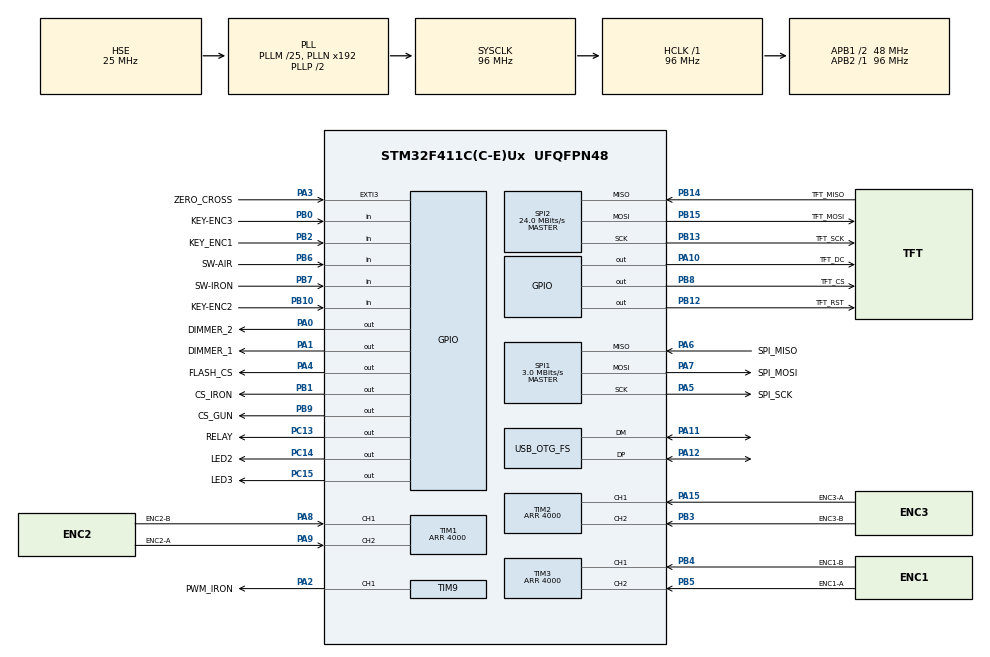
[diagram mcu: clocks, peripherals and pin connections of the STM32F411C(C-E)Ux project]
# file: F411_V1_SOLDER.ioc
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ADC1.Channel-0\#ChannelRegularConversion=ADC_CHANNEL_VBAT
ADC1.Channel-1\#ChannelRegularConversion=ADC_CHANNEL_VREFINT
ADC1.ContinuousConvMode=ENABLE
ADC1.DMAContinuousRequests=ENABLE
ADC1.NbrOfConversion=2
ADC1.NbrOfConversionFlag=1
ADC1.Rank-0\#ChannelRegularConversion=1
ADC1.Rank-1\#ChannelRegularConversion=2
ADC1.SamplingTime-0\#ChannelRegularConversion=ADC_SAMPLETIME_144CYCLES
ADC1.SamplingTime-1\#ChannelRegularConversion=ADC_SAMPLETIME_144CYCLES
ADC1.master=1
Dma.ADC1.0.Direction=DMA_PERIPH_TO_MEMORY
Dma.ADC1.0.FIFOMode=DMA_FIFOMODE_DISABLE
Dma.ADC1.0.Instance=DMA2_Stream0
Dma.ADC1.0.MemDataAlignment=DMA_MDATAALIGN_HALFWORD
Dma.ADC1.0.MemInc=DMA_MINC_ENABLE
Dma.ADC1.0.Mode=DMA_CIRCULAR
Dma.ADC1.0.PeriphDataAlignment=DMA_PDATAALIGN_HALFWORD
Dma.ADC1.0.PeriphInc=DMA_PINC_DISABLE
Dma.ADC1.0.Priority=DMA_PRIORITY_MEDIUM
Dma.Request0=ADC1
Dma.Request1=SPI2_TX
Dma.SPI2_TX.1.Direction=DMA_MEMORY_TO_PERIPH
Dma.SPI2_TX.1.FIFOMode=DMA_FIFOMODE_DISABLE
Dma.SPI2_TX.1.Instance=DMA1_Stream4
Dma.SPI2_TX.1.MemDataAlignment=DMA_MDATAALIGN_BYTE
Dma.SPI2_TX.1.MemInc=DMA_MINC_ENABLE
Dma.SPI2_TX.1.Mode=DMA_NORMAL
Dma.SPI2_TX.1.PeriphDataAlignment=DMA_PDATAALIGN_BYTE
Dma.SPI2_TX.1.PeriphInc=DMA_PINC_DISABLE
Dma.SPI2_TX.1.Priority=DMA_PRIORITY_HIGH
Mcu.Family=STM32F4
Mcu.Name=STM32F411C(C-E)Ux
Mcu.Package=UFQFPN48
NVIC.DMA1_Stream4_IRQn=true\:0\:0\:false\:false\:true\:false\:true\:true
NVIC.DMA2_Stream0_IRQn=true\:2\:0\:true\:false\:true\:false\:true\:true
NVIC.EXTI3_IRQn=true\:2\:0\:true\:false\:true\:true\:true\:true
NVIC.OTG_FS_IRQn=true\:0\:0\:false\:false\:true\:false\:true\:true
NVIC.PriorityGroup=NVIC_PRIORITYGROUP_4
NVIC.SPI2_IRQn=true\:0\:0\:false\:false\:true\:true\:true\:true
NVIC.TIM1_TRG_COM_TIM11_IRQn=true\:15\:0\:false\:false\:true\:false\:true\:true
NVIC.TIM1_UP_TIM10_IRQn=true\:2\:0\:true\:false\:true\:true\:true\:true
NVIC.TIM4_IRQn=true\:4\:0\:true\:false\:true\:true\:true\:true
NVIC.TIM5_IRQn=true\:2\:0\:true\:false\:true\:true\:true\:true
NVIC.TimeBase=TIM1_TRG_COM_TIM11_IRQn
NVIC.TimeBaseIP=TIM11
PA0-WKUP.GPIO_Label=DIMMER_2
PA0-WKUP.PinState=GPIO_PIN_SET
PA0-WKUP.Signal=GPIO_Output
PA1.GPIO_Label=DIMMER_1
PA1.PinState=GPIO_PIN_SET
PA1.Signal=GPIO_Output
PA10.GPIO_Label=TFT_DC
PA10.PinState=GPIO_PIN_SET
PA10.Signal=GPIO_Output
PA11.Mode=Device_Only
PA11.Signal=USB_OTG_FS_DM
PA12.Mode=Device_Only
PA12.Signal=USB_OTG_FS_DP
PA13.Mode=Serial_Wire
PA13.Signal=SYS_JTMS-SWDIO
PA14.Mode=Serial_Wire
PA14.Signal=SYS_JTCK-SWCLK
PA15.GPIO_Label=ENC3-A
PA15.Signal=S_TIM2_CH1_ETR
PA2.GPIO_Label=PWM_IRON
PA2.Signal=S_TIM9_CH1
PA3.GPIO_Label=ZERO_CROSS
PA3.Signal=GPXTI3
PA4.GPIO_Label=FLASH_CS
PA4.PinState=GPIO_PIN_SET
PA4.Signal=GPIO_Output
PA5.GPIO_Label=SPI_SCK
PA5.Mode=Full_Duplex_Master
PA5.Signal=SPI1_SCK
PA6.GPIO_Label=SPI_MISO
PA6.Mode=Full_Duplex_Master
PA6.Signal=SPI1_MISO
PA7.GPIO_Label=SPI_MOSI
PA7.Mode=Full_Duplex_Master
PA7.Signal=SPI1_MOSI
PA8.GPIO_Label=ENC2-B
PA8.Signal=S_TIM1_CH1
PA9.GPIO_Label=ENC2-A
PA9.Signal=S_TIM1_CH2
PB0.GPIO_Label=KEY-ENC3
PB0.Signal=GPIO_Input
PB1.GPIO_Label=CS_IRON
PB1.PinState=GPIO_PIN_SET
PB1.Signal=GPIO_Output
PB10.GPIO_Label=KEY-ENC2
PB10.Signal=GPIO_Input
PB12.GPIO_Label=TFT_RST
PB12.PinState=GPIO_PIN_SET
PB12.Signal=GPIO_Output
PB13.GPIO_Label=TFT_SCK
PB13.Mode=Full_Duplex_Master
PB13.Signal=SPI2_SCK
PB14.GPIO_Label=TFT_MISO
PB14.Mode=Full_Duplex_Master
PB14.Signal=SPI2_MISO
PB15.GPIO_Label=TFT_MOSI
PB15.Mode=Full_Duplex_Master
PB15.Signal=SPI2_MOSI
PB2.GPIO_Label=KEY_ENC1
PB2.Signal=GPIO_Input
PB3.GPIO_Label=ENC3-B
PB3.Signal=S_TIM2_CH2
PB4.GPIO_Label=ENC1-B
PB4.Signal=S_TIM3_CH1
PB5.GPIO_Label=ENC1-A
PB5.Signal=S_TIM3_CH2
PB6.GPIO_Label=SW-AIR
PB6.Signal=GPIO_Input
PB7.GPIO_Label=SW-IRON
PB7.Signal=GPIO_Input
PB8.GPIO_Label=TFT_CS
PB8.PinState=GPIO_PIN_SET
PB8.Signal=GPIO_Output
PB9.GPIO_Label=CS_GUN
PB9.PinState=GPIO_PIN_SET
PB9.Signal=GPIO_Output
PC13-ANTI_TAMP.GPIO_Label=RELAY
PC13-ANTI_TAMP.PinState=GPIO_PIN_SET
PC13-ANTI_TAMP.Signal=GPIO_Output
PC14-OSC32_IN.GPIO_Label=LED2
PC14-OSC32_IN.Signal=GPIO_Output
PC15-OSC32_OUT.GPIO_Label=LED3
PC15-OSC32_OUT.Signal=GPIO_Output
PH0\ -\ OSC_IN.Mode=HSE-External-Oscillator
PH0\ -\ OSC_IN.Signal=RCC_OSC_IN
PH1\ -\ OSC_OUT.Mode=HSE-External-Oscillator
PH1\ -\ OSC_OUT.Signal=RCC_OSC_OUT
ProjectManager.HeapSize=0x200
ProjectManager.StackSize=0x400
ProjectManager.TargetToolchain=STM32CubeIDE
RCC.48MHZClocksFreq_Value=48000000
RCC.AHBFreq_Value=96000000
RCC.APB1CLKDivider=RCC_HCLK_DIV2
RCC.APB1Freq_Value=48000000
RCC.APB1TimFreq_Value=96000000
RCC.APB2Freq_Value=96000000
RCC.APB2TimFreq_Value=96000000
RCC.CortexFreq_Value=96000000
RCC.EnbaleCSS=true
RCC.HCLKFreq_Value=96000000
RCC.HSE_VALUE=25000000
RCC.HSI_VALUE=16000000
RCC.LSE_VALUE=32768
RCC.PLLM=25
RCC.RCC_RTC_Clock_SourceVirtual=RCC_RTCCLKSOURCE_HSE_DIV25
RCC.RCC_RTC_Clock_Source_FROM_HSE=RCC_RTCCLKSOURCE_HSE_DIV25
RCC.SYSCLKFreq_VALUE=96000000
RCC.SYSCLKSource=RCC_SYSCLKSOURCE_PLLCLK
RCC.VCOOutputFreq_Value=192000000
RTC.AsynchPrediv=100-1
RTC.Format=RTC_FORMAT_BIN
RTC.Month=RTC_MONTH_NOVEMBER
RTC.SynchPrediv=10000-1
RTC.Year=23
SH.S_TIM1_CH1.0=TIM1_CH1,Encoder_Interface
SH.S_TIM1_CH2.0=TIM1_CH2,Encoder_Interface
SH.S_TIM2_CH1_ETR.0=TIM2_CH1,Encoder_Interface
SH.S_TIM2_CH2.0=TIM2_CH2,Encoder_Interface
SH.S_TIM3_CH1.0=TIM3_CH1,Encoder_Interface
SH.S_TIM3_CH2.0=TIM3_CH2,Encoder_Interface
SH.S_TIM9_CH1.0=TIM9_CH1,PWM Generation1 CH1
SPI1.BaudRatePrescaler=SPI_BAUDRATEPRESCALER_32
SPI1.CLKPhase=SPI_PHASE_2EDGE
SPI1.CLKPolarity=SPI_POLARITY_HIGH
SPI1.CalculateBaudRate=3.0 MBits/s
SPI1.Direction=SPI_DIRECTION_2LINES
SPI1.Mode=SPI_MODE_MASTER
SPI1.VirtualType=VM_MASTER
SPI2.BaudRatePrescaler=SPI_BAUDRATEPRESCALER_2
SPI2.CalculateBaudRate=24.0 MBits/s
SPI2.Direction=SPI_DIRECTION_2LINES
SPI2.Mode=SPI_MODE_MASTER
SPI2.VirtualType=VM_MASTER
TIM1.AutoReloadPreload=TIM_AUTORELOAD_PRELOAD_DISABLE
TIM1.EncoderMode=TIM_ENCODERMODE_TI12
TIM1.IC1Filter=8
TIM1.IC1Polarity=TIM_ICPOLARITY_FALLING
TIM1.IC1Prescaler=TIM_ICPSC_DIV2
TIM1.IC2Filter=8
TIM1.IC2Polarity=TIM_ICPOLARITY_FALLING
TIM1.IC2Prescaler=TIM_ICPSC_DIV2
TIM1.Period=4000
TIM10.AutoReloadPreload=TIM_AUTORELOAD_PRELOAD_DISABLE
TIM10.Period=1000-1
TIM10.Prescaler=800-1
TIM2.AutoReloadPreload=TIM_AUTORELOAD_PRELOAD_DISABLE
TIM2.EncoderMode=TIM_ENCODERMODE_TI12
TIM2.IC1Filter=8
TIM2.IC1Polarity=TIM_ICPOLARITY_FALLING
TIM2.IC1Prescaler=TIM_ICPSC_DIV2
TIM2.IC2Filter=8
TIM2.IC2Polarity=TIM_ICPOLARITY_FALLING
TIM2.IC2Prescaler=TIM_ICPSC_DIV2
TIM2.Period=4000
TIM3.AutoReloadPreload=TIM_AUTORELOAD_PRELOAD_DISABLE
TIM3.EncoderMode=TIM_ENCODERMODE_TI12
TIM3.IC1Filter=8
TIM3.IC1Polarity=TIM_ICPOLARITY_FALLING
TIM3.IC1Prescaler=TIM_ICPSC_DIV2
TIM3.IC2Filter=8
TIM3.IC2Polarity=TIM_ICPOLARITY_FALLING
TIM3.IC2Prescaler=TIM_ICPSC_DIV2
TIM3.Period=4000
TIM4.AutoReloadPreload=TIM_AUTORELOAD_PRELOAD_ENABLE
TIM4.Prescaler=96-1
TIM5.AutoReloadPreload=TIM_AUTORELOAD_PRELOAD_DISABLE
TIM5.Period=100-1
TIM5.Prescaler=80-1
TIM9.Channel-PWM\ Generation1\ CH1=TIM_CHANNEL_1
TIM9.OCPolarity_1=TIM_OCPOLARITY_LOW
TIM9.Period=4095
TIM9.Prescaler=16
USB_DEVICE.CLASS_NAME_FS=CDC
USB_DEVICE.VirtualMode=Cdc
USB_DEVICE.VirtualModeFS=Cdc_FS
USB_OTG_FS.VirtualMode=Device_Only
VP_ADC1_Vbat_Input.Mode=IN-Vbat
VP_ADC1_Vref_Input.Mode=IN-Vrefint
VP_RTC_VS_RTC_Activate.Mode=RTC_Enabled
VP_RTC_VS_RTC_Calendar.Mode=RTC_Calendar
VP_SYS_VS_tim11.Mode=TIM11
VP_TIM10_VS_ClockSourceINT.Mode=Enable_Timer
VP_TIM4_VS_ClockSourceINT.Mode=Internal
VP_TIM5_VS_ClockSourceINT.Mode=Internal
VP_TIM9_VS_ClockSourceINT.Mode=Internal
VP_USB_DEVICE_VS_USB_DEVICE_CDC_FS.Mode=CDC_FS
board=custom

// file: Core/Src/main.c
/* USER CODE BEGIN Header */
/**
  ******************************************************************************
  * @file           : main.c
  * @brief          : Main program body
  ******************************************************************************
  * @attention
  *
  * Copyright (c) 2023 STMicroelectronics.
  * All rights reserved.
  *
  * This software is licensed under terms that can be found in the LICENSE file
  * in the root directory of this software component.
  * If no LICENSE file comes with this software, it is provided AS-IS.
  *
  ******************************************************************************
  */
/* USER CODE END Header */
#include "main.h"
#include "adc.h"
#include "dma.h"
#include "rtc.h"
#include "spi.h"
#include "tim.h"
#include "usb_device.h"
#include "gpio.h"

/* USER CODE BEGIN Includes */
#include "string.h"
#include "stdio.h"
#include "math.h"
#include "../App/key.h"
#include "../App/ILI9341.h"
#include "../App/MAX31856.h"
#include "../App/W25qxx.h"
#include "../App/Encoder.h"
#include "../App/log_usb.h"
#include "../lvgl/lvgl.h"
#include "../App/screen.h"
#include "../App/power_ctrl.h"
/* USER CODE END Includes */

/* USER CODE BEGIN PTD */
void calculate_calibration(void);
void filter_adc(void);
void Zero_Crossing_Int(void);
/* USER CODE END PTD */

/* USER CODE BEGIN PM */
extern char string_usb[];
/* USER CODE END PM */

/* USER CODE BEGIN PV */
encoder rot1;
encoder rot2;
encoder rot3;
RTC_TimeTypeDef RTC_Time = {0};
RTC_DateTypeDef RTC_Date = {0};
max_data max_dbg_i;
max_data max_dbg_g;

GPIO_PinState pin_sw_air;
uint8_t sw_air_low = 0;
uint8_t sw_air_high = 0;
volatile uint8_t sw_air = 0;

GPIO_PinState pin_sw_iron;
uint8_t sw_iron_low = 0;
uint8_t sw_iron_high = 0;
volatile uint8_t sw_iron = 0;

uint16_t adcBuffer[4]; 					// Buffer ADC conversion
uint16_t filter_adc_1[8] = { 0 };
uint16_t filter_adc_2[8] = { 0 };
uint16_t filter_adc_3[8] = { 0 };
uint16_t ADC_temp = 0, ADC_vref = 0, ADC_vbat = 0;
uint16_t pwm_iron = 0;
uint16_t idx_flt = 0;
uint16_t flt_flag = 0;
uint32_t timer_key = 0, timer_lvgl = 0, timer_rtc = 0;
uint32_t timer_lcd = 0, timer_debug = 0, timer_therm = 0;

float temp_iron = 0.0f;
float temp_gun  = 0.0f;
float temp_cj_iron = 0.0f;
float temp_cj_gun = 0.0f;
float target_iron, target_air;
uint32_t target_speed = 0;

volatile uint32_t enc1_cnt=0, enc1_last=0, enc1_dir=0, enc1_btn=0;
volatile uint32_t enc2_cnt=0, enc2_last=0, enc2_dir=0, enc2_btn=0;
volatile uint32_t enc3_cnt=0, enc3_last=0, enc3_dir=0, enc3_btn=0;
volatile uint32_t enc1_val=0, enc2_val=0, enc3_val=0;

volatile int NumHandled  = 0;
volatile bool zero_cross = 0;
int NumActiveChannels = NUM_DIMMERS;
volatile bool isHandled[NUM_DIMMERS] = { 0, 0 };
uint32_t dimmer_value[NUM_DIMMERS]   = { 0, 0 };
uint32_t dimmer_Counter[NUM_DIMMERS] = { 0, 0 };
uint32_t dimmer_out[NUM_DIMMERS]     = { 0, 0 };
uint32_t timer_cnt5 = 0;
uint32_t timer_cnt5_max = 0;

uint16_t EepromID = 0xFFFF, prg_rev = 0xFFFF;

float vdda = 0.0f; 		// Result of VDDA calculation
float vref = 0.0f; 		// Result of VREF calculation
float vbat = 0.0f;		// Result of VBAT calculation
float temp_stm, ta, tb; // transfer function using calibration data

static lv_disp_draw_buf_t draw_buf;
static lv_color_t buf1[(ILI9341_SCREEN_WIDTH * 20)];	// Declare a buffer for 1/10 screen size
static lv_color_t buf2[(ILI9341_SCREEN_WIDTH * 20)];
static lv_disp_drv_t disp_drv;        					// Descriptor of a display driver

W25QXX_result_t res;
W25QXX_HandleTypeDef w25qxx; // Handler for all w25qxx operations!

max31856_t therm_iron = {&hspi1, {CS_IRON_GPIO_Port, CS_IRON_Pin}};
max31856_t therm_gun  = {&hspi1, {CS_GUN_GPIO_Port, CS_GUN_Pin}};
/* USER CODE END PV */

void SystemClock_Config(void);

int main(void)
{

  /* MCU Configuration--------------------------------------------------------*/

  /* Reset of all peripherals, Initializes the Flash interface and the Systick. */
  HAL_Init();

  /* Configure the system clock */
  SystemClock_Config();

  /* Initialize all configured peripherals */
  MX_GPIO_Init();
  MX_DMA_Init();
  MX_ADC1_Init();
  MX_RTC_Init();
  MX_SPI1_Init();
  MX_SPI2_Init();
  MX_TIM1_Init();
  MX_TIM2_Init();
  MX_TIM3_Init();
  MX_TIM4_Init();
  MX_TIM5_Init();
  MX_TIM9_Init();
  MX_TIM10_Init();
  MX_USB_DEVICE_Init();
  /* USER CODE BEGIN 2 */
  timer_cnt5 = 0;
  HAL_TIM_Base_Start_IT(&htim4);
  HAL_TIM_Base_Start_IT(&htim5);
  HAL_TIM_Base_Start_IT(&htim10);
  HAL_TIM_Encoder_Start(&htim1, TIM_CHANNEL_ALL);
  HAL_TIM_Encoder_Start(&htim2, TIM_CHANNEL_ALL);
  HAL_TIM_Encoder_Start(&htim3, TIM_CHANNEL_ALL);

  // PWM
  pwm_iron = 80;
  HAL_TIM_PWM_Start(&htim9, TIM_CHANNEL_1);
  __HAL_TIM_SetCompare(&htim9, TIM_CHANNEL_1, pwm_iron);	// PWM_CH1 = 80 IRON

  // Start ADC
  idx_flt = 0;
  flt_flag = 0;
  calculate_calibration();
  HAL_ADC_Start_DMA(&hadc1, (uint32_t*)adcBuffer, 2);	// Start ADC in DMA

  // Apaga LEDS
  // LED-1 - PWM GUN
  // LED-2 - REPOUSO
  // LED-3 - OPERATE
  // LED-4 - PWM IRON
  HAL_GPIO_WritePin(DIMMER_1_GPIO_Port, DIMMER_1_Pin, GPIO_PIN_SET);
  HAL_GPIO_WritePin(DIMMER_2_GPIO_Port, DIMMER_2_Pin, GPIO_PIN_SET);
  HAL_GPIO_WritePin(RELAY_GPIO_Port,RELAY_Pin, GPIO_PIN_SET);
  HAL_GPIO_WritePin(LED2_GPIO_Port, LED2_Pin, GPIO_PIN_RESET);
  HAL_GPIO_WritePin(LED3_GPIO_Port, LED3_Pin, GPIO_PIN_RESET);

  ILI9341_Init();
  ILI9341_Set_Rotation(SCREEN_HORIZONTAL_1);
  ILI9341_Set_Address(0, 0, ILI9341_SCREEN_HEIGHT-1, ILI9341_SCREEN_WIDTH-1);

  Evt_InitQueue();
  KeyboardInit(0x01);

  // ThermoCouple INIT
  max31856_init(&therm_iron);
  max31856_clear_fault_status(&therm_iron);
  max31856_set_noise_filter(&therm_iron, CR0_FILTER_OUT_60Hz);
  max31856_set_cold_junction_enable(&therm_iron, CR0_CJ_ENABLED);
  max31856_set_thermocouple_type(&therm_iron, CR1_TC_TYPE_K);
  max31856_set_average_samples(&therm_iron, CR1_AVG_TC_SAMPLES_2);
  max31856_set_open_circuit_fault_detection(&therm_iron, CR0_OC_DETECT_ENABLED_TC_LESS_2ms);
  max31856_set_conversion_mode(&therm_iron, CR0_CONV_CONTINUOUS);
  //
  max_dbg_i.CR0 = max31856_read_register(&therm_iron, MAX31856_CR0);
  max_dbg_i.CR1 = max31856_read_register(&therm_iron, MAX31856_CR1);
  max_dbg_i.MASK = max31856_read_register(&therm_iron, MAX31856_MASK);

  max_dbg_i.CJHF = max31856_read_register(&therm_iron, MAX31856_CJHF);
  max_dbg_i.CJLF = max31856_read_register(&therm_iron, MAX31856_CJLF);

  max_dbg_i.LTHFTH = max31856_read_register(&therm_iron, MAX31856_LTHFTH);
  max_dbg_i.LTHFTL = max31856_read_register(&therm_iron, MAX31856_LTHFTL);

  max_dbg_i.LTLFTH = max31856_read_register(&therm_iron, MAX31856_LTLFTH);
  max_dbg_i.LTLFTL = max31856_read_register(&therm_iron, MAX31856_LTLFTL);

  max_dbg_i.CJTO = max31856_read_register(&therm_iron, MAX31856_CJTO);
  max_dbg_i.CJTH = max31856_read_register(&therm_iron, MAX31856_CJTH);
  max_dbg_i.CJTL = max31856_read_register(&therm_iron, MAX31856_CJTL);

  max_dbg_i.LTCBH = max31856_read_register(&therm_iron, MAX31856_LTCBH);
  max_dbg_i.LTCBM = max31856_read_register(&therm_iron, MAX31856_LTCBM);
  max_dbg_i.LTCBL = max31856_read_register(&therm_iron, MAX31856_LTCBL);

  max_dbg_i.SR = max31856_read_register(&therm_iron, MAX31856_SR);

  //
  max31856_init(&therm_gun);
  max31856_clear_fault_status(&therm_gun);
  max31856_set_noise_filter(&therm_gun, CR0_FILTER_OUT_60Hz);
  max31856_set_cold_junction_enable(&therm_gun, CR0_CJ_ENABLED);
  max31856_set_thermocouple_type(&therm_gun, CR1_TC_TYPE_K);
  max31856_set_average_samples(&therm_gun, CR1_AVG_TC_SAMPLES_2);
  max31856_set_open_circuit_fault_detection(&therm_gun, CR0_OC_DETECT_ENABLED_TC_LESS_2ms);
  max31856_set_conversion_mode(&therm_gun, CR0_CONV_CONTINUOUS);

  max_dbg_g.CR0 = max31856_read_register(&therm_gun, MAX31856_CR0);
  max_dbg_g.CR1 = max31856_read_register(&therm_gun, MAX31856_CR1);
  max_dbg_g.MASK = max31856_read_register(&therm_gun, MAX31856_MASK);

  max_dbg_g.CJHF = max31856_read_register(&therm_gun, MAX31856_CJHF);
  max_dbg_g.CJLF = max31856_read_register(&therm_gun, MAX31856_CJLF);

  max_dbg_g.LTHFTH = max31856_read_register(&therm_gun, MAX31856_LTHFTH);
  max_dbg_g.LTHFTL = max31856_read_register(&therm_gun, MAX31856_LTHFTL);

  max_dbg_g.LTLFTH = max31856_read_register(&therm_gun, MAX31856_LTLFTH);
  max_dbg_g.LTLFTL = max31856_read_register(&therm_gun, MAX31856_LTLFTL);

  max_dbg_g.CJTO = max31856_read_register(&therm_gun, MAX31856_CJTO);
  max_dbg_g.CJTH = max31856_read_register(&therm_gun, MAX31856_CJTH);
  max_dbg_g.CJTL = max31856_read_register(&therm_gun, MAX31856_CJTL);

  max_dbg_g.LTCBH = max31856_read_register(&therm_gun, MAX31856_LTCBH);
  max_dbg_g.LTCBM = max31856_read_register(&therm_gun, MAX31856_LTCBM);
  max_dbg_g.LTCBL = max31856_read_register(&therm_gun, MAX31856_LTCBL);

  max_dbg_g.SR = max31856_read_register(&therm_gun, MAX31856_SR);

  // Inicia Flash SPI
//  res = w25qxx_init(&w25qxx, &hspi1, FLASH_CS_GPIO_Port, FLASH_CS_Pin);
//  if (res == W25QXX_Ok) {
          //DBG("W25QXX successfully initialized");
          //DBG("Manufacturer       = 0x%2x", w25qxx.manufacturer_id);
          //DBG("Device             = 0x%4x", w25qxx.device_id);
          //DBG("Block size         = 0x%04lx (%lu)", w25qxx.block_size, w25qxx.block_size);
          //DBG("Block count        = 0x%04lx (%lu)", w25qxx.block_count, w25qxx.block_count);
          //DBG("Sector size        = 0x%04lx (%lu)", w25qxx.sector_size, w25qxx.sector_size);
          //DBG("Sectors per block  = 0x%04lx (%lu)", w25qxx.sectors_in_block, w25qxx.sectors_in_block);
          //DBG("Page size          = 0x%04lx (%lu)", w25qxx.page_size, w25qxx.page_size);
          //DBG("Pages per sector   = 0x%04lx (%lu)", w25qxx.pages_in_sector, w25qxx.pages_in_sector);
          //DBG("Total size (in kB) = 0x%04lx (%lu)", (w25qxx.block_count * w25qxx.block_size) / 1024, (w25qxx.block_count * w25qxx.block_size) / 1024);
//  }
//  else {
//          //DBG("Unable to initialize w25qxx");
//  }
  EepromID = 0xFFFF;
  prg_rev = 0xFFFF;
  target_iron  = 30;
  target_air   = 50;
  target_speed = 10;

//  ReadID_EEPROM();
//  if(EepromID != 0x55AA || prg_rev != PRG_REVISION) {
//  	  Save_Default_EEPROM();
//  }
//  else {
//  	  Read_Config_EEPROM();
//  }

  lv_init();

  lv_disp_draw_buf_init(&draw_buf, buf1, buf2, (ILI9341_SCREEN_WIDTH * 20) );		// Initialize the display buffer.
  lv_disp_drv_init(&disp_drv);          			// Basic initialization

  disp_drv.flush_cb = ILI9341_Flush_IT;   			// Set your driver function
  disp_drv.hor_res  = ILI9341_SCREEN_WIDTH;   		// Set the horizontal resolution of the display
  disp_drv.ver_res  = ILI9341_SCREEN_HEIGHT;   		// Set the vertical resolution of the display

  disp_drv.draw_buf   = &draw_buf;        			// Assign the buffer to the display
  disp_drv.rotated    = LV_DISP_ROT_90;
  disp_drv.sw_rotate  = 1;
  lv_disp_drv_register(&disp_drv);      			// Finally register the driver

  screen_main();
  screen_debug();
  load_screen(0);

  /* USER CODE END 2 */

  /* Infinite loop */
  while (1)
  {

    /* USER CODE BEGIN 3 */
	if(HAL_GetTick() - timer_lvgl > 5) {
		timer_lvgl = HAL_GetTick();
		lv_timer_handler();
	}

	if(HAL_GetTick() - timer_rtc > 1000) {
		timer_rtc = HAL_GetTick();
		HAL_RTC_GetTime(&hrtc, &RTC_Time, RTC_FORMAT_BIN);
		HAL_RTC_GetDate(&hrtc, &RTC_Date, RTC_FORMAT_BIN);
	}

	// Read Encoders
	Read_Encoder();

	// Update Value Dimmer
	dimmer_value[0] = enc1_last / 10;
	dimmer_value[1] = enc2_last / 10;
	pwm_iron = (uint16_t)enc1_last * 4;
	__HAL_TIM_SetCompare(&htim9, TIM_CHANNEL_1, pwm_iron);

	// Buttons Encoders
	KeyboardEvent();

	// Read ADC
	filter_adc();

	if(HAL_GetTick() - timer_therm > 250) {
		timer_therm = HAL_GetTick();
		max31856_read_fault(&therm_iron);
		if (!therm_iron.sr.val) {
			temp_iron = max31856_read_TC_temp(&therm_iron);
			temp_cj_iron = max31856_read_CJ_temp(&therm_iron);
		}
		else {
			temp_iron = NAN;
			temp_cj_iron = NAN;
			max31856_clear_fault_status(&therm_iron);
		}
		max31856_read_fault(&therm_gun);
		if (!therm_gun.sr.val) {
			temp_gun = max31856_read_TC_temp(&therm_gun);
			temp_cj_gun = max31856_read_CJ_temp(&therm_gun);
		}
		else {
			temp_gun = NAN;
			temp_cj_gun = NAN;
			max31856_clear_fault_status(&therm_gun);
		}
	}

	// Log Debug
	if(HAL_GetTick() - timer_debug > 1000) {
		timer_debug = HAL_GetTick();
//		sprintf(string_usb, "ENC1: %04ld [0] %ld ( %ld )  [1] %ld ( %ld ) PWM: %d TS: %0.2f TG: %0.2f \n\r",
//			    enc1_last, dimmer_value[0], dimmer_out[0],
//				dimmer_value[1], dimmer_out[1],
//				pwm_iron,
//				temp_iron, temp_gun );
//		LogDebug(string_usb);
	}

	//
	power_iron();
  }
  /* USER CODE END 3 */
}

void SystemClock_Config(void)
{
  RCC_OscInitTypeDef RCC_OscInitStruct = {0};
  RCC_ClkInitTypeDef RCC_ClkInitStruct = {0};

  /** Configure the main internal regulator output voltage
  */
  __HAL_RCC_PWR_CLK_ENABLE();
  __HAL_PWR_VOLTAGESCALING_CONFIG(PWR_REGULATOR_VOLTAGE_SCALE1);

  /** Initializes the RCC Oscillators according to the specified parameters
  * in the RCC_OscInitTypeDef structure.
  */
  RCC_OscInitStruct.OscillatorType = RCC_OSCILLATORTYPE_HSE;
  RCC_OscInitStruct.HSEState = RCC_HSE_ON;
  RCC_OscInitStruct.PLL.PLLState = RCC_PLL_ON;
  RCC_OscInitStruct.PLL.PLLSource = RCC_PLLSOURCE_HSE;
  RCC_OscInitStruct.PLL.PLLM = 25;
  RCC_OscInitStruct.PLL.PLLN = 192;
  RCC_OscInitStruct.PLL.PLLP = RCC_PLLP_DIV2;
  RCC_OscInitStruct.PLL.PLLQ = 4;
  if (HAL_RCC_OscConfig(&RCC_OscInitStruct) != HAL_OK)
  {
    Error_Handler();
  }

  /** Initializes the CPU, AHB and APB buses clocks
  */
  RCC_ClkInitStruct.ClockType = RCC_CLOCKTYPE_HCLK|RCC_CLOCKTYPE_SYSCLK
                              |RCC_CLOCKTYPE_PCLK1|RCC_CLOCKTYPE_PCLK2;
  RCC_ClkInitStruct.SYSCLKSource = RCC_SYSCLKSOURCE_PLLCLK;
  RCC_ClkInitStruct.AHBCLKDivider = RCC_SYSCLK_DIV1;
  RCC_ClkInitStruct.APB1CLKDivider = RCC_HCLK_DIV2;
  RCC_ClkInitStruct.APB2CLKDivider = RCC_HCLK_DIV1;

  if (HAL_RCC_ClockConfig(&RCC_ClkInitStruct, FLASH_LATENCY_3) != HAL_OK)
  {
    Error_Handler();
  }

  /** Enables the Clock Security System
  */
  HAL_RCC_EnableCSS();
}

/* USER CODE BEGIN 4 */
void HAL_SPI_TxCpltCallback(SPI_HandleTypeDef *hspi)
{
	if(hspi->Instance == SPI2) {
		ILI9341_End_Flush(&disp_drv);
	}
}

void filter_adc(void)
{
	if(flt_flag == 1) {
        ADC_vbat = ( ( filter_adc_1[0]+filter_adc_1[1]+filter_adc_1[2]+filter_adc_1[3]+filter_adc_1[4]+filter_adc_1[5]+filter_adc_1[6]+filter_adc_1[7] ) / 8 );
		ADC_vref = ( ( filter_adc_2[0]+filter_adc_2[1]+filter_adc_2[2]+filter_adc_2[3]+filter_adc_2[4]+filter_adc_2[5]+filter_adc_2[6]+filter_adc_2[7] ) / 8 );

		// VDDA can be calculated based on the measured vref and the calibration data
	    vdda = (float)VREFINT_CAL_VREF * (float)*VREFINT_CAL_ADDR / ADC_vref / 1000.0;

	    // Knowing vdda and the resolution of adc - the actual voltage can be calculated
	    vref = (float)(vdda / 4095.0 * ADC_vref);
	    vbat = (float)(vdda / 4095.0 * ADC_vbat) * 3.0;

		flt_flag = 0;
	}
}

void calculate_calibration(void)
{
    float x1 = (float) *TEMPSENSOR_CAL1_ADDR;
    float x2 = (float) *TEMPSENSOR_CAL2_ADDR;
    float y1 = (float) TEMPSENSOR_CAL1_TEMP;
    float y2 = (float) TEMPSENSOR_CAL2_TEMP;

    // Simple linear equation y = ax + b based on two points
    ta = (float) ((y2 - y1) / (x2 - x1));
    tb = (float) ((x2 * y1 - x1 * y2) / (x2 - x1));
}

void HAL_ADC_ConvCpltCallback(ADC_HandleTypeDef* hadc)
{
	filter_adc_1[idx_flt] = adcBuffer[0];
	filter_adc_2[idx_flt] = adcBuffer[1];
	idx_flt++;
	if(idx_flt >= 8) {
		idx_flt = 0;
		flt_flag = 1;
	}
}

void debounce_input(void)
{
	// Debounce SW_AIR PIN
	pin_sw_air = HAL_GPIO_ReadPin(SW_AIR_GPIO_Port, SW_AIR_Pin);
	if(pin_sw_air == 0) {
		sw_air_low++;
		sw_air_high = 0;
		if(sw_air_low >= DEBOUNCE_SW) {
			sw_air_low = DEBOUNCE_SW + 1;
			sw_air = 0;
		}
	}
	else {
		sw_air_high++;
		sw_air_low = 0;
		if(sw_air_high >= DEBOUNCE_SW) {
			sw_air_high = DEBOUNCE_SW + 1;
			sw_air = 1;
		}
	}
	//
	// Debounce SW_IRON PIN
	pin_sw_iron = HAL_GPIO_ReadPin(SW_IRON_GPIO_Port, SW_IRON_Pin);
	if(pin_sw_iron == 0) {
		sw_iron_low++;
		sw_iron_high = 0;
		if(sw_iron_low >= DEBOUNCE_SW) {
			sw_iron_low = DEBOUNCE_SW + 1;
			sw_iron = 0;
		}
	}
	else {
		sw_iron_high++;
		sw_iron_low = 0;
		if(sw_iron_high >= DEBOUNCE_SW) {
			sw_iron_high = DEBOUNCE_SW + 1;
			sw_iron = 1;
		}
	}
}

// handles EXTI line3 interrupt
void HAL_GPIO_EXTI_Callback(uint16_t GPIO_Pin)
{
    if(GPIO_Pin == ZERO_CROSS_Pin)
    {
		HAL_NVIC_DisableIRQ(EXTI3_IRQn);
		Zero_Crossing_Int();
		HAL_NVIC_EnableIRQ(EXTI3_IRQn);
    }
}

void Zero_Crossing_Int(void)
{
	NumHandled = 0;

	isHandled[0] = 0;
	isHandled[1] = 0;
	timer_cnt5_max = timer_cnt5;
	timer_cnt5 = 0;
	zero_cross = 1;
	dimmer_Counter[0] = 0;
	dimmer_Counter[1] = 0;
	HAL_GPIO_WritePin(DIMMER_1_GPIO_Port, DIMMER_1_Pin, GPIO_PIN_SET);
	HAL_GPIO_WritePin(DIMMER_2_GPIO_Port, DIMMER_2_Pin, GPIO_PIN_SET);
}

void dimmerTimerISR(void)
{
	if(zero_cross == 1) {
		for(int i = 0; i < NUM_DIMMERS; i++) {
			if( dimmer_Counter[i] >= (DIMMER_VALUE_MAX - dimmer_value[i]) ) {
				dimmer_out[i] = DIMMER_VALUE_MAX - dimmer_value[i];
				if(i == 0){
					HAL_GPIO_WritePin(DIMMER_1_GPIO_Port, DIMMER_1_Pin, GPIO_PIN_RESET);
				}else if(i  == 1){
					HAL_GPIO_WritePin(DIMMER_2_GPIO_Port, DIMMER_2_Pin, GPIO_PIN_RESET);
				}
				isHandled[i] = 1;
				NumHandled++;
				if(NumHandled == NumActiveChannels) {
					zero_cross = 0;
				}
			}
			else if(isHandled[i] == 0) {
				dimmer_Counter[i]++;
			}
		}
	}
}
/* USER CODE END 4 */

void HAL_TIM_PeriodElapsedCallback(TIM_HandleTypeDef *htim)
{
  if (htim->Instance == TIM11) {
    HAL_IncTick();
  }
  /* USER CODE BEGIN Callback 1 */
  if (htim->Instance == TIM11) {
	  debounce_input();
	  lv_tick_inc(1);
	  timer_key++;
	  if(timer_key >= PUSHBTN_TMR_PERIOD) {
		  timer_key = 0;
		  Key_Read();
	  }
  }
  // Timer Dimmer 12Khz
  if(htim->Instance == TIM5) {			// 12Khz - 84us
	  timer_cnt5++;
  	  dimmerTimerISR();
  }

//  if(htim->Instance == TIM10) {			// 120Hz - 8.33ms
//	  HAL_GPIO_WritePin(RELAY_GPIO_Port,RELAY_Pin, GPIO_PIN_SET);
// 	  for(uint16_t u = 0; u < 300; u++) {
//  		  __NOP();
//  	  }
//  	  HAL_GPIO_WritePin(RELAY_GPIO_Port,RELAY_Pin, GPIO_PIN_RESET);
//    }
  /* USER CODE END Callback 1 */
}

void Error_Handler(void)
{
  __disable_irq();
  while (1)
  {
  }
}
